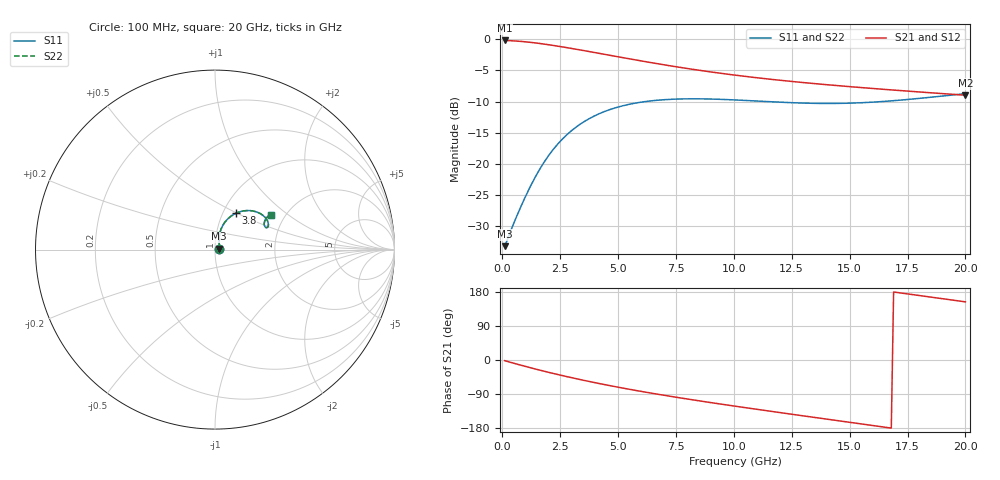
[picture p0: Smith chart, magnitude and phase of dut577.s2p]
! Touchstone file exported from HFSS 2024.1.0
!  File:  C:/UserFiles/LocalFiles/RDL_TSV_Batchsim/temp_RDL_TSV_577_1779756219.aedt
!  Generated:  08:59:43 AM May 26, 2026
!  Design:  RDL_TSV
!  Project:  temp_RDL_TSV_577_1779756219
!  Setup:  Setup1
!  Solution:  Sweep
! Variables:
!  dtsv = 9.91um
!  hbump = 3um
!  htsv = 51.32um
!  ldown = 420.38um
!  lrdl = 483.05um
!  p = 40
!  p1 = 49.43um
!  rhole = 10um
!  subl = 3193.34um
!  t = 450um
!  tdown = 4.43um
!  trdl = 2.56um
!  viad = 10um
!  wdown = 26.52um
!  wrdl = 15.58um
!  xbump = 18um
# GHz S MA R 50.000000
! Terminal data exported
! Port[1] = TM1_1_T1
! Port[2] = TM1_4_T1
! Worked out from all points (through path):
!   200 points, 100 MHz to 20 GHz, reference 50 ohm
!   highest |S21| = -0.19 dB at 100 MHz (marker M1); lowest = -9.0 dB at 20 GHz (marker M2)
!   group delay of S21, straight-line fit = 27.1 ps
!   lowest |S11| = -33.2 dB at 100 MHz (marker M3), VSWR 1.04, Z = 52.2 + j0.568 ohm
!   |S11| at or under -10 dB: start of sweep to 6.146 GHz; 11.52 GHz to 16.34 GHz (4.812 GHz wide, 34.5 % of centre)
!   |S22| runs from -33.2 to -8.7 dB; largest |S21 - S12| = 4e-14
!   S11 on the Smith chart (normalised r, x): 100 MHz: 1.04, +0.01; 3.8 GHz: 1.15, +0.49; 20 GHz: 1.68, +0.76
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0.1  0.02196 14.3  0.9785 -1.8  0.9785 -1.8  0.02196 14.3
! Gamma 0 0 0 0
! Port Impedance 50 0 50 0
0.5  0.03371 47.3  0.9709 -8.7  0.9709 -8.7  0.03371 47.3
1  0.05483 65.7  0.9544 -17.0  0.9544 -17.0  0.05484 65.7
1.4  0.07724 72.0  0.9365 -23.4  0.9365 -23.4  0.07727 72.0
1.8  0.1032 73.8  0.9156 -29.6  0.9156 -29.6  0.1033 73.8
2.2  0.1309 72.9  0.8927 -35.5  0.8927 -35.5  0.131 72.9
2.6  0.1588 70.5  0.8686 -41.3  0.8686 -41.3  0.159 70.5
3  0.1858 67.3  0.844 -46.8  0.844 -46.8  0.1859 67.3
3.5  0.2168 62.8  0.813 -53.4  0.813 -53.4  0.217 62.8
3.8  0.2337 60.0  0.7945 -57.3  0.7945 -57.3  0.2338 60.0
4.4  0.263 54.6  0.7584 -64.7  0.7584 -64.7  0.2632 54.6
5.1  0.2898 48.6  0.7182 -72.9  0.7182 -72.9  0.29 48.6
5.9  0.3113 42.5  0.6756 -81.8  0.6756 -81.8  0.3115 42.5
6.8  0.3259 36.7  0.6324 -91.2  0.6324 -91.2  0.3261 36.7
8.4  0.3333 29.0  0.5679 -106.8  0.5679 -106.8  0.3334 29.0
10.1  0.3262 24.3  0.5145 -122.3  0.5145 -122.3  0.3262 24.3
11.7  0.315 23.0  0.4755 -136.3  0.4755 -136.3  0.315 22.9
13.4  0.3067 24.2  0.4426 -150.9  0.4426 -150.9  0.3066 24.1
15  0.3075 26.8  0.4172 -164.5  0.4172 -164.5  0.3073 26.8
16.7  0.3198 29.8  0.3941 -178.9  0.3941 -178.9  0.3195 29.9
18.3  0.3401 31.7  0.3748 167.7  0.3748 167.7  0.3399 31.7
20  0.3664 32.2  0.3562 153.4  0.3562 153.4  0.3663 32.2
